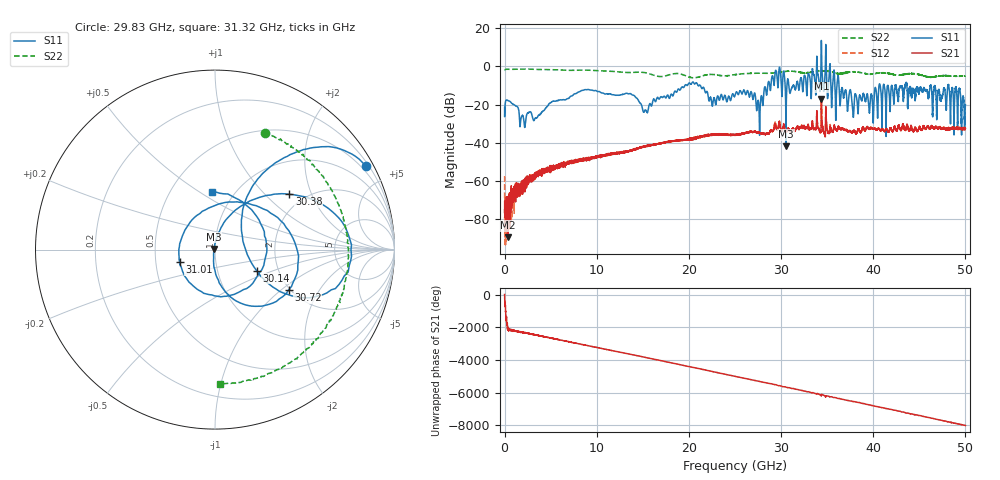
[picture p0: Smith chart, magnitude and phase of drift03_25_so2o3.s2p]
!Created with skrf (http://scikit-rf.org).
# Hz S RI R 50.0
!freq ReS11 ImS11 ReS21 ImS21 ReS12 ImS12 ReS22 ImS22
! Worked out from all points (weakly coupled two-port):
!   10001 points, 300 kHz to 50 GHz, reference 50 ohm
!   highest |S21| = -16.80 dB at 34.37 GHz (marker M1); lowest = -89.5 dB at 345.3 MHz (marker M2)
!   lowest |S11| = -41.9 dB at 30.53 GHz (marker M3), VSWR 1.02, Z = 49.3 + j0.361 ohm
!   |S11| at or under -10 dB: start of sweep to 19.56 GHz; 21.25 GHz to 28.55 GHz (7.296 GHz wide, 29.3 % of centre); 36.28 GHz to 40.63 GHz (4.342 GHz wide, 11.3 % of centre) (the widest 3 of 43)
!   |S22| runs from -5.9 to -1.3 dB; largest |S21 - S12| = 0.028
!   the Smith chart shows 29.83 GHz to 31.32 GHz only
!   S11 on the Smith chart (normalised r, x): 29.83 GHz: 0.31, +3.85; 30.14 GHz: 1.54, -0.39; 30.38 GHz: 1.68, +1.41; 30.72 GHz: 1.96, -1.13; 31.01 GHz: 0.67, -0.10; 31.32 GHz: 0.79, +0.56
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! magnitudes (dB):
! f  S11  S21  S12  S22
! 300 kHz  -21.5  -76.6  -57.5  -2.1
! 345.3 MHz  -17.8  -89.5  -87.2  -1.4
! 3.3 GHz  -27.3  -59.0  -57.3  -1.5
! 8.335 GHz  -12.6  -48.7  -48.8  -1.9
! 15.29 GHz  -22.8  -41.5  -41.7  -3.3
! 16.67 GHz  -16.6  -40.5  -40.6  -5.2
! 20.26 GHz  -9.1  -38.1  -38.0  -5.8
! 22.71 GHz  -16.4  -35.4  -35.6  -4.2
! 25 GHz  -15.3  -35.8  -35.8  -4.3
! 27.53 GHz  -17.8  -34.6  -34.5  -3.5
! 29.83 GHz  -0.3  -29.5  -28.9  -3.0
! 30.14 GHz  -11.7  -33.4  -33.5  -2.8
! 30.38 GHz  -5.7  -32.2  -32.5  -2.6
! 30.53 GHz  -41.9  -34.1  -34.0  -2.6
! 30.72 GHz  -6.6  -32.7  -32.6  -2.5
! 31.01 GHz  -13.6  -34.0  -34.2  -2.4
! 31.32 GHz  -9.9  -32.6  -32.5  -2.5
! 33.34 GHz  -7.4  -31.4  -31.4  -2.9
! 34.37 GHz  13.6  -16.8  -18.3  -2.3
! 37.85 GHz  -26.6  -33.9  -34.3  -2.9
! 41.67 GHz  -11.6  -34.3  -34.1  -3.7
! 50 GHz  -20.0  -32.5  -32.8  -4.9
